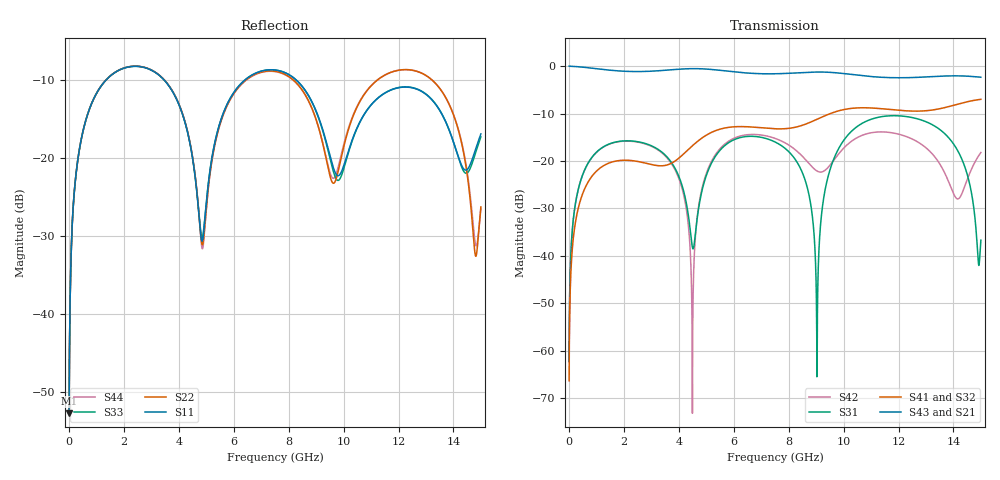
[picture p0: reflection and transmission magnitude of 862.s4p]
! Created with skrf 1.8.0 (http://scikit-rf.org).
# GHz S RI R 50.0
!freq ReS11 ImS11 ReS12 ImS12 ReS13 ImS13
! ReS14 ImS14
! ReS21 ImS21 ReS22 ImS22 ReS23 ImS23
! ReS24 ImS24
! ReS31 ImS31 ReS32 ImS32 ReS33 ImS33
! ReS34 ImS34
! ReS41 ImS41 ReS42 ImS42 ReS43 ImS43
! ReS44 ImS44
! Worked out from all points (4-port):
!   2499 points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, 5 MHz to 15 GHz, reference 50 ohm
!   strongest paths, dB at 5 MHz, 3.476 GHz, 7.19 GHz, 11.1 GHz, 15 GHz:
!     S43: 0.0, -0.9, -1.6, -2.3, -2.4
!     S21: 0.0, -0.9, -1.6, -2.3, -2.4
!     S41: -66.4, -21.0, -13.1, -8.9, -7.0
!     S32: -66.4, -21.0, -13.2, -8.9, -7.0
!     S31: -62.3, -18.6, -15.3, -11.0, -36.7
!     S42: -62.3, -18.8, -14.7, -14.0, -18.2
!   lowest |S11| = -52.7 dB at 5 MHz (marker M1), VSWR 1.00, Z = 50.2 + j0.14 ohm
!   |S11| at or under -10 dB: start of sweep to 1.334 GHz; 3.482 GHz to 6.387 GHz (2.904 GHz wide, 58.9 % of centre); 8.297 GHz to end of sweep
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0.005  0.00184 0.0014  0.9981 -0.00359  9.43e-05 0.000759  -9.14e-05 -0.000472
       0.9981 -0.00359  0.00184 0.0014  -9.14e-05 -0.000472  9.42e-05 0.000759
       9.43e-05 0.000759  -9.14e-05 -0.000472  0.00184 0.0014  0.9981 -0.00359
       -9.14e-05 -0.000472  9.42e-05 0.000759  0.9981 -0.00359  0.00184 0.0014
1.77574  0.3422 0.1262  0.3556 -0.8168  0.1569 0.0305  -0.0967 0.0271
         0.3556 -0.8168  0.3431 0.1252  -0.0966 0.027  0.1551 0.0347
         0.1569 0.0305  -0.0966 0.027  0.3423 0.1262  0.3556 -0.8168
         -0.0967 0.0271  0.1551 0.0347  0.3556 -0.8168  0.3431 0.1252
4.495455  0.0494 -0.0889  -0.892 -0.2962  -0.0115 -0.00423  -0.0409 0.1386
          -0.892 -0.2962  0.0478 -0.0915  -0.0415 0.1385  -0.00013 0.000175
          -0.0115 -0.00423  -0.0415 0.1385  0.0506 -0.0887  -0.8919 -0.2963
          -0.0409 0.1386  -0.00013 0.000175  -0.8919 -0.2963  0.0467 -0.092
5.577324  0.1183 0.1436  -0.8217 0.36  0.0924 0.101  0.1156 0.1862
          -0.8217 0.36  0.1164 0.1409  0.1147 0.1863  0.1044 0.0963
          0.0924 0.101  0.1147 0.1863  0.1203 0.1423  -0.8219 0.3598
          0.1156 0.1862  0.1044 0.0963  -0.8219 0.3598  0.1139 0.1415
9.028762  0.1394 -0.1376  0.6961 0.5143  0.000251 -0.000466  0.1553 -0.2265
          0.6961 0.5143  0.1221 -0.1201  0.1587 -0.2242  -0.0649 -0.0439
          0.000251 -0.000466  0.1587 -0.2242  0.1341 -0.1401  0.6964 0.5142
          0.1553 -0.2265  -0.0649 -0.0439  0.6964 0.5142  0.1262 -0.1154
9.797832  0.0768 -0.00987  0.8409 0.0958  0.0606 0.1163  0.0248 -0.3351
          0.8409 0.0958  0.0752 0.0325  0.029 -0.3354  -0.047 0.1065
          0.0606 0.1163  0.029 -0.3354  0.0717 -0.00906  0.841 0.0956
          0.0248 -0.3351  -0.047 0.1065  0.841 0.0956  0.0805 0.0338
15  0.1085 0.0939  -0.762 -0.0195  0.00689 0.0129  0.00769 0.4461
    -0.762 -0.0195  0.0317 0.0371  0.000832 0.4465  0.0992 0.0721
    0.00689 0.0129  0.000832 0.4465  0.1038 0.0902  -0.7626 -0.0212
    0.00769 0.4461  0.0992 0.0721  -0.7626 -0.0212  0.0347 0.0326
